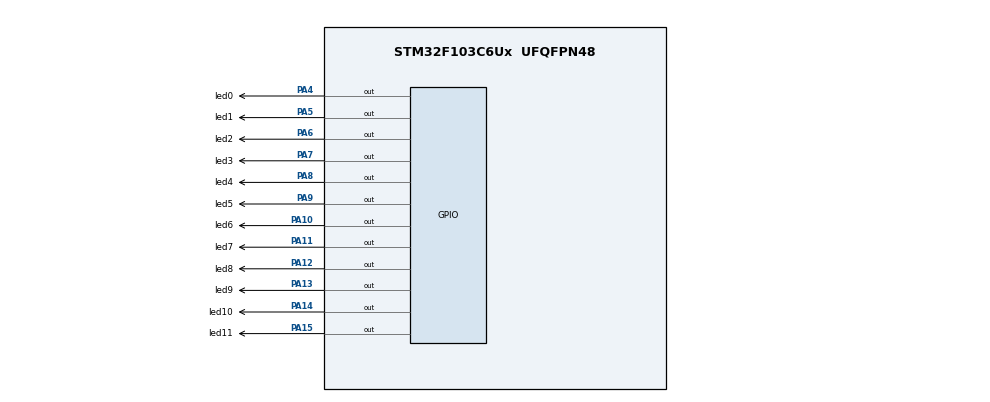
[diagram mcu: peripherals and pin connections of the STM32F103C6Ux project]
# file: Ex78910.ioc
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Mcu.Family=STM32F1
Mcu.Name=STM32F103C6Ux
Mcu.Package=UFQFPN48
NVIC.PriorityGroup=NVIC_PRIORITYGROUP_4
PA10.GPIO_Label=led6
PA10.Signal=GPIO_Output
PA11.GPIO_Label=led7
PA11.Signal=GPIO_Output
PA12.GPIO_Label=led8
PA12.Signal=GPIO_Output
PA13.GPIO_Label=led9
PA13.Signal=GPIO_Output
PA14.GPIO_Label=led10
PA14.Signal=GPIO_Output
PA15.GPIO_Label=led11
PA15.Signal=GPIO_Output
PA4.GPIO_Label=led0
PA4.Signal=GPIO_Output
PA5.GPIO_Label=led1
PA5.Signal=GPIO_Output
PA6.GPIO_Label=led2
PA6.Signal=GPIO_Output
PA7.GPIO_Label=led3
PA7.Signal=GPIO_Output
PA8.GPIO_Label=led4
PA8.Signal=GPIO_Output
PA9.GPIO_Label=led5
PA9.Signal=GPIO_Output
ProjectManager.HeapSize=0x200
ProjectManager.StackSize=0x400
ProjectManager.TargetToolchain=STM32CubeIDE
RCC.APB1Freq_Value=8000000
RCC.APB2Freq_Value=8000000
VP_SYS_VS_ND.Mode=No_Debug
board=custom

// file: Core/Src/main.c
/* USER CODE BEGIN Header */
/**
  ******************************************************************************
  * @file           : main.c
  * @brief          : Main program body
  ******************************************************************************
  * @attention
  *
  * <h2><center>&copy; Copyright (c) 2024 STMicroelectronics.
  * All rights reserved.</center></h2>
  *
  * This software component is licensed by ST under BSD 3-Clause license,
  * the "License"; You may not use this file except in compliance with the
  * License. You may obtain a copy of the License at:
  *                        opensource.org/licenses/BSD-3-Clause
  *
  ******************************************************************************
  */
/* USER CODE END Header */
#include "main.h"

void SystemClock_Config(void);
static void MX_GPIO_Init(void);
/* USER CODE BEGIN PFP */
void clearAllClock(void);
void setNumberOnClock(int num);
void clearNumberOnClock(int num);
/* USER CODE END PFP */

int main(void)
{

  /* MCU Configuration--------------------------------------------------------*/

  /* Reset of all peripherals, Initializes the Flash interface and the Systick. */
  HAL_Init();

  /* Configure the system clock */
  SystemClock_Config();

  /* Initialize all configured peripherals */
  MX_GPIO_Init();

  /* Infinite loop */
  /* USER CODE BEGIN WHILE */
  int hour = 0;
  int minute = 0;
  int second = 0;
  while (1)
  {
    /* USER CODE END WHILE */
	  clearAllClock();

	  setNumberOnClock(hour);
	  setNumberOnClock(minute);
	  setNumberOnClock(second);
	  HAL_Delay(1000);

	  second = (second + 1) % 12;
	  if (second == 0) {
		  minute = (minute + 1) % 12;
		  if (minute == 0) {
			  hour = (hour + 1) % 12;
		  }
	  }
  }
}

void SystemClock_Config(void)
{
  RCC_OscInitTypeDef RCC_OscInitStruct = {0};
  RCC_ClkInitTypeDef RCC_ClkInitStruct = {0};

  /** Initializes the RCC Oscillators according to the specified parameters
  * in the RCC_OscInitTypeDef structure.
  */
  RCC_OscInitStruct.OscillatorType = RCC_OSCILLATORTYPE_HSI;
  RCC_OscInitStruct.HSIState = RCC_HSI_ON;
  RCC_OscInitStruct.HSICalibrationValue = RCC_HSICALIBRATION_DEFAULT;
  RCC_OscInitStruct.PLL.PLLState = RCC_PLL_NONE;
  if (HAL_RCC_OscConfig(&RCC_OscInitStruct) != HAL_OK)
  {
    Error_Handler();
  }
  /** Initializes the CPU, AHB and APB buses clocks
  */
  RCC_ClkInitStruct.ClockType = RCC_CLOCKTYPE_HCLK|RCC_CLOCKTYPE_SYSCLK
                              |RCC_CLOCKTYPE_PCLK1|RCC_CLOCKTYPE_PCLK2;
  RCC_ClkInitStruct.SYSCLKSource = RCC_SYSCLKSOURCE_HSI;
  RCC_ClkInitStruct.AHBCLKDivider = RCC_SYSCLK_DIV1;
  RCC_ClkInitStruct.APB1CLKDivider = RCC_HCLK_DIV1;
  RCC_ClkInitStruct.APB2CLKDivider = RCC_HCLK_DIV1;

  if (HAL_RCC_ClockConfig(&RCC_ClkInitStruct, FLASH_LATENCY_0) != HAL_OK)
  {
    Error_Handler();
  }
}

static void MX_GPIO_Init(void)
{
  GPIO_InitTypeDef GPIO_InitStruct = {0};

  /* GPIO Ports Clock Enable */
  __HAL_RCC_GPIOA_CLK_ENABLE();

  /*Configure GPIO pin Output Level */
  HAL_GPIO_WritePin(GPIOA, led0_Pin|led1_Pin|led2_Pin|led3_Pin
                          |led4_Pin|led5_Pin|led6_Pin|led7_Pin
                          |led8_Pin|led9_Pin|led10_Pin|led11_Pin, GPIO_PIN_RESET);

  /*Configure GPIO pins : led0_Pin led1_Pin led2_Pin led3_Pin
                           led4_Pin led5_Pin led6_Pin led7_Pin
                           led8_Pin led9_Pin led10_Pin led11_Pin */
  GPIO_InitStruct.Pin = led0_Pin|led1_Pin|led2_Pin|led3_Pin
                          |led4_Pin|led5_Pin|led6_Pin|led7_Pin
                          |led8_Pin|led9_Pin|led10_Pin|led11_Pin;
  GPIO_InitStruct.Mode = GPIO_MODE_OUTPUT_PP;
  GPIO_InitStruct.Pull = GPIO_NOPULL;
  GPIO_InitStruct.Speed = GPIO_SPEED_FREQ_LOW;
  HAL_GPIO_Init(GPIOA, &GPIO_InitStruct);

}

/* USER CODE BEGIN 4 */
void clearAllClock(void)
{
    for (int pin = 4; pin <= 15; pin++) {
        HAL_GPIO_WritePin(GPIOA, (1 << pin), GPIO_PIN_SET);
    }
}

void setNumberOnClock(int num)
{
    if (num >= 0 && num < 12) {
        HAL_GPIO_WritePin(GPIOA, (1 << (num + 4)), GPIO_PIN_RESET);
    }
}

void clearNumberOnClock(int num)
{
    if (num >= 0 && num < 12) {
        HAL_GPIO_WritePin(GPIOA, (1 << (num + 4)), GPIO_PIN_SET);
    }
}

/* USER CODE END 4 */

void Error_Handler(void)
{
  __disable_irq();
  while (1)
  {
  }
}

/************************ (C) COPYRIGHT STMicroelectronics *****END OF FILE****/
